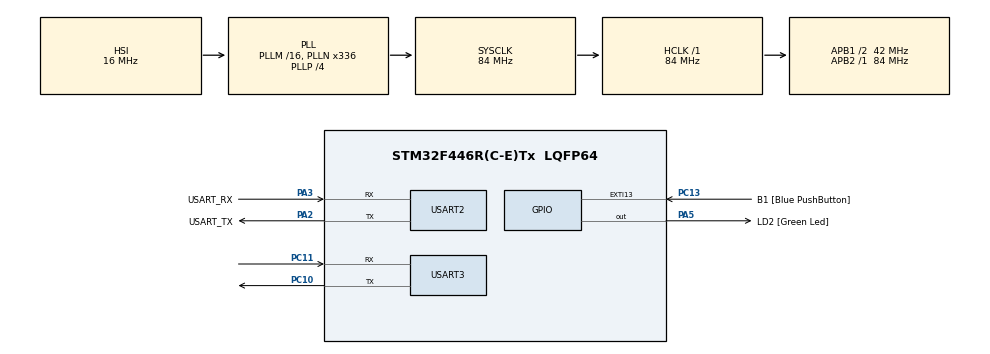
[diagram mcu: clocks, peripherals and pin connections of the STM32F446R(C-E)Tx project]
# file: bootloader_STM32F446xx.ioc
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Mcu.Family=STM32F4
Mcu.Name=STM32F446R(C-E)Tx
Mcu.Package=LQFP64
NVIC.PriorityGroup=NVIC_PRIORITYGROUP_0
PA13.GPIO_Label=TMS
PA13.Mode=Serial_Wire
PA13.Signal=SYS_JTMS-SWDIO
PA14.GPIO_Label=TCK
PA14.Mode=Serial_Wire
PA14.Signal=SYS_JTCK-SWCLK
PA2.GPIO_Label=USART_TX
PA2.Mode=Asynchronous
PA2.Signal=USART2_TX
PA3.GPIO_Label=USART_RX
PA3.Mode=Asynchronous
PA3.Signal=USART2_RX
PA5.GPIO_Label=LD2 [Green Led]
PA5.Signal=GPIO_Output
PB3.GPIO_Label=SWO
PB3.Signal=SYS_JTDO-SWO
PC10.Mode=Asynchronous
PC10.Signal=USART3_TX
PC11.Mode=Asynchronous
PC11.Signal=USART3_RX
PC13.GPIO_Label=B1 [Blue PushButton]
PC13.GPIO_ModeDefaultEXTI=GPIO_MODE_IT_FALLING
PC13.Signal=GPXTI13
PC14-OSC32_IN.Signal=RCC_OSC32_IN
PC15-OSC32_OUT.Signal=RCC_OSC32_OUT
PH0-OSC_IN.Signal=RCC_OSC_IN
PH1-OSC_OUT.Signal=RCC_OSC_OUT
ProjectManager.HeapSize=0x200
ProjectManager.StackSize=0x400
ProjectManager.TargetToolchain=STM32CubeIDE
RCC.48MHZClocksFreq_Value=84000000
RCC.AHBFreq_Value=84000000
RCC.APB1CLKDivider=RCC_HCLK_DIV2
RCC.APB1Freq_Value=42000000
RCC.APB1TimFreq_Value=84000000
RCC.APB2Freq_Value=84000000
RCC.APB2TimFreq_Value=84000000
RCC.CortexFreq_Value=84000000
RCC.FLatency-AdvancedSettings=FLASH_LATENCY_2
RCC.HCLKFreq_Value=84000000
RCC.HSE_VALUE=8000000
RCC.HSI_VALUE=16000000
RCC.PLLN=336
RCC.PLLP=RCC_PLLP_DIV4
RCC.SYSCLKFreq_VALUE=84000000
RCC.SYSCLKSource=RCC_SYSCLKSOURCE_PLLCLK
RCC.USBFreq_Value=168000000
RCC.VCOOutputFreq_Value=336000000
USART2.VirtualMode=VM_ASYNC
USART3.VirtualMode=VM_ASYNC
VP_CRC_VS_CRC.Mode=CRC_Activate
board=NUCLEO-F446RE

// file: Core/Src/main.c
/* USER CODE BEGIN Header */
/**
  ******************************************************************************
  * @file           : main.c
  * @brief          : Main program body
  ******************************************************************************
  * @attention
  *
  * Copyright (c) 2026 STMicroelectronics.
  * All rights reserved.
  *
  * This software is licensed under terms that can be found in the LICENSE file
  * in the root directory of this software component.
  * If no LICENSE file comes with this software, it is provided AS-IS.
  *
  ******************************************************************************
  */
/* USER CODE END Header */
#include "main.h"

/* USER CODE BEGIN Includes */
#include <string.h>
#include <stdarg.h>
#include <stdio.h>
/* USER CODE END Includes */

/* USER CODE BEGIN PD */
#define BL_DEBUG_MSG_EN
#define FLASH_SECTOR2_BASE_ADDRESS            0x08008000UL

/* USER CODE END PD */

/* USER CODE BEGIN PM */
#define D_UART		&huart2
#define C_UART      &huart3

#define BL_RX_LEN	200
/* USER CODE END PM */

CRC_HandleTypeDef hcrc;

UART_HandleTypeDef huart2;
UART_HandleTypeDef huart3;

/* USER CODE BEGIN PV */
uint8_t bl_rx_buffer[BL_RX_LEN];

uint8_t supported_commands[] = {
							   BL_GET_VER,
							   BL_GET_HELP,
							   BL_GET_CID,
							   BL_GET_RDP_STATUS,
							   BL_GO_TO_ADDR,
							   BL_FLASH_ERASE,
							   BL_MEM_WRITE,
							   BL_READ_SECTOR_STATUS};
/* USER CODE END PV */

void SystemClock_Config(void);
static void MX_GPIO_Init(void);
static void MX_USART2_UART_Init(void);
static void MX_USART3_UART_Init(void);
static void MX_CRC_Init(void);
/* USER CODE BEGIN PFP */
void printmsg(char *format,...);

/* USER CODE END PFP */

int main(void)
{

  /* MCU Configuration--------------------------------------------------------*/

  /* Reset of all peripherals, Initializes the Flash interface and the Systick. */
  HAL_Init();

  /* Configure the system clock */
  SystemClock_Config();

  /* Initialize all configured peripherals */
  MX_GPIO_Init();
  MX_USART2_UART_Init();
  MX_USART3_UART_Init();
  MX_CRC_Init();
  /* USER CODE BEGIN 2 */
  if(HAL_GPIO_ReadPin(GPIOC, GPIO_PIN_13)==GPIO_PIN_RESET)
  {
	  printmsg("BL_DEBUG_MSG:Button is pressed .. going to BL mode\n\r");

	  bootloader_uart_read_data();
  }
  else
  {
	  printmsg("BL_DEBUG_MSG:Button is not pressed .. executing user app \n");
	  bootloader_jump_to_user_app();
  }
  /* USER CODE END 2 */

}

void SystemClock_Config(void)
{
  RCC_OscInitTypeDef RCC_OscInitStruct = {0};
  RCC_ClkInitTypeDef RCC_ClkInitStruct = {0};

  /** Configure the main internal regulator output voltage
  */
  __HAL_RCC_PWR_CLK_ENABLE();
  __HAL_PWR_VOLTAGESCALING_CONFIG(PWR_REGULATOR_VOLTAGE_SCALE3);

  /** Initializes the RCC Oscillators according to the specified parameters
  * in the RCC_OscInitTypeDef structure.
  */
  RCC_OscInitStruct.OscillatorType = RCC_OSCILLATORTYPE_HSI;
  RCC_OscInitStruct.HSIState = RCC_HSI_ON;
  RCC_OscInitStruct.HSICalibrationValue = RCC_HSICALIBRATION_DEFAULT;
  RCC_OscInitStruct.PLL.PLLState = RCC_PLL_ON;
  RCC_OscInitStruct.PLL.PLLSource = RCC_PLLSOURCE_HSI;
  RCC_OscInitStruct.PLL.PLLM = 16;
  RCC_OscInitStruct.PLL.PLLN = 336;
  RCC_OscInitStruct.PLL.PLLP = RCC_PLLP_DIV4;
  RCC_OscInitStruct.PLL.PLLQ = 2;
  RCC_OscInitStruct.PLL.PLLR = 2;
  if (HAL_RCC_OscConfig(&RCC_OscInitStruct) != HAL_OK)
  {
    Error_Handler();
  }

  /** Initializes the CPU, AHB and APB buses clocks
  */
  RCC_ClkInitStruct.ClockType = RCC_CLOCKTYPE_HCLK|RCC_CLOCKTYPE_SYSCLK
                              |RCC_CLOCKTYPE_PCLK1|RCC_CLOCKTYPE_PCLK2;
  RCC_ClkInitStruct.SYSCLKSource = RCC_SYSCLKSOURCE_PLLCLK;
  RCC_ClkInitStruct.AHBCLKDivider = RCC_SYSCLK_DIV1;
  RCC_ClkInitStruct.APB1CLKDivider = RCC_HCLK_DIV2;
  RCC_ClkInitStruct.APB2CLKDivider = RCC_HCLK_DIV1;

  if (HAL_RCC_ClockConfig(&RCC_ClkInitStruct, FLASH_LATENCY_2) != HAL_OK)
  {
    Error_Handler();
  }
}

static void MX_CRC_Init(void)
{

  hcrc.Instance = CRC;
  if (HAL_CRC_Init(&hcrc) != HAL_OK)
  {
    Error_Handler();
  }

}

static void MX_USART2_UART_Init(void)
{

  huart2.Instance = USART2;
  huart2.Init.BaudRate = 115200;
  huart2.Init.WordLength = UART_WORDLENGTH_8B;
  huart2.Init.StopBits = UART_STOPBITS_1;
  huart2.Init.Parity = UART_PARITY_NONE;
  huart2.Init.Mode = UART_MODE_TX_RX;
  huart2.Init.HwFlowCtl = UART_HWCONTROL_NONE;
  huart2.Init.OverSampling = UART_OVERSAMPLING_16;
  if (HAL_UART_Init(&huart2) != HAL_OK)
  {
    Error_Handler();
  }

}

static void MX_USART3_UART_Init(void)
{

  huart3.Instance = USART3;
  huart3.Init.BaudRate = 115200;
  huart3.Init.WordLength = UART_WORDLENGTH_8B;
  huart3.Init.StopBits = UART_STOPBITS_1;
  huart3.Init.Parity = UART_PARITY_NONE;
  huart3.Init.Mode = UART_MODE_TX_RX;
  huart3.Init.HwFlowCtl = UART_HWCONTROL_NONE;
  huart3.Init.OverSampling = UART_OVERSAMPLING_16;
  if (HAL_UART_Init(&huart3) != HAL_OK)
  {
    Error_Handler();
  }

}

static void MX_GPIO_Init(void)
{
  GPIO_InitTypeDef GPIO_InitStruct = {0};

  /* GPIO Ports Clock Enable */
  __HAL_RCC_GPIOC_CLK_ENABLE();
  __HAL_RCC_GPIOH_CLK_ENABLE();
  __HAL_RCC_GPIOA_CLK_ENABLE();
  __HAL_RCC_GPIOB_CLK_ENABLE();

  /*Configure GPIO pin Output Level */
  HAL_GPIO_WritePin(LD2_GPIO_Port, LD2_Pin, GPIO_PIN_RESET);

  /*Configure GPIO pin : B1_Pin */
  GPIO_InitStruct.Pin = B1_Pin;
  GPIO_InitStruct.Mode = GPIO_MODE_IT_FALLING;
  GPIO_InitStruct.Pull = GPIO_NOPULL;
  HAL_GPIO_Init(B1_GPIO_Port, &GPIO_InitStruct);

  /*Configure GPIO pin : LD2_Pin */
  GPIO_InitStruct.Pin = LD2_Pin;
  GPIO_InitStruct.Mode = GPIO_MODE_OUTPUT_PP;
  GPIO_InitStruct.Pull = GPIO_NOPULL;
  GPIO_InitStruct.Speed = GPIO_SPEED_FREQ_LOW;
  HAL_GPIO_Init(LD2_GPIO_Port, &GPIO_InitStruct);

}

/* USER CODE BEGIN 4 */
void printmsg(char *format,...)
{
#ifdef BL_DEBUG_MSG_EN
	char str[80];

	va_list args;
	va_start(args,format);
	vsprintf(str,format,args);
	HAL_UART_Transmit(D_UART, (uint8_t *)str, strlen(str), HAL_MAX_DELAY);
	va_end(args);
#endif
}
void bootloader_uart_read_data(void)
{
	uint8_t rcv_len=0;

	while(1)
	{
		printmsg("I'm ready\n\r");
		memset(bl_rx_buffer,0,200);
		//here we will read and decode the commands coming from host
		//first read only one byte from the host , which is the "length" field of the command
		HAL_UART_Receive(C_UART, bl_rx_buffer, 1, HAL_MAX_DELAY);
		rcv_len=bl_rx_buffer[0];

		HAL_UART_Receive(C_UART, &bl_rx_buffer[1], rcv_len, HAL_MAX_DELAY);
		printmsg("bl_rx_buffer[0]:%#x\n\r",bl_rx_buffer[0]);
		printmsg("bl_rx_buffer[1]:%#x\n\r",bl_rx_buffer[1]);
		switch(bl_rx_buffer[1])
		{
			case BL_GET_VER:
				bootloader_handle_getver_cmd(bl_rx_buffer);
				break;
			case BL_GET_HELP:
				bootloader_handle_gethelp_cmd(bl_rx_buffer);
				break;
			case BL_GET_CID:
				bootloader_handle_getcid_cmd(bl_rx_buffer);
				break;
			case BL_GET_RDP_STATUS:
				bootloader_handle_getrdp_cmd(bl_rx_buffer);
				break;
			case BL_GO_TO_ADDR:
				bootloader_handle_go_cmd(bl_rx_buffer);
				break;
			case BL_FLASH_ERASE:
				bootloader_handle_flash_erase_cmd(bl_rx_buffer);
				break;
			case BL_MEM_WRITE:
				bootloader_handle_mem_write_cmd(bl_rx_buffer);
				break;
			case BL_ENDIS_RW_PROTECT:
				bootloader_handle_endis_rw_protect(bl_rx_buffer);
				break;
			case BL_MEM_READ:
				bootloader_handle_mem_read(bl_rx_buffer);
				break;
			case BL_READ_SECTOR_STATUS:
				bootloader_handle_read_sector_status(bl_rx_buffer);
				break;
			case BL_OTP_READ:
				bootloader_handle_read_otp(bl_rx_buffer);
				break;
			default:
				printmsg("BL_DEBUG_MSG:Invalid command code received from host \n");
				break;

		}
	}
}
void bootloader_send_ack(uint8_t command_code,uint8_t follow_len)
{
	//here we send 2 bytes.. first byte is ack and the second byte is len value
	uint8_t ack_buf[2];
	ack_buf[0] = BL_ACK;
	ack_buf[1] = follow_len;
	HAL_UART_Transmit(C_UART, ack_buf, 2, HAL_MAX_DELAY);
}
void bootloader_send_nack(void)
{
	uint8_t nack = BL_NACK;
	HAL_UART_Transmit(C_UART, &nack, 1, HAL_MAX_DELAY);
}

//This verifies the CRC of the given buffer in pData .
uint8_t bootloader_verify_crc(uint8_t *pData,uint32_t len,uint32_t crc_host)
{
	uint32_t uwCRCValue=0xff;

	for (uint32_t i=0 ; i < len ; i++)
	{
		uint32_t i_data = pData[i];
		uwCRCValue = HAL_CRC_Accumulate(&hcrc, &i_data, 1);
	}
	  /* Reset CRC calculation unit */
	__HAL_CRC_DR_RESET(&hcrc);
	printmsg("%#x\n\r",uwCRCValue);

	if( uwCRCValue == crc_host)
	{
		return VERIFY_CRC_SUCCESS;
	}
	return VERIFY_CRC_FAIL;
}
void bootloader_handle_getver_cmd(uint8_t *bl_rx_buffer)
{
	uint8_t bl_version;

	// 1) verify the checksum
	printmsg("BL_DEBUG_MSG:bootloader_handle_getver_cmd\n");

	//Total length of the command packet
	uint32_t command_packet_len = bl_rx_buffer[0]+1;

	//extract the CRC32 sent by the Host
	uint32_t host_crc = *((uint32_t *) (bl_rx_buffer+command_packet_len - 4));
	if(! bootloader_verify_crc(&bl_rx_buffer[0],command_packet_len-4,host_crc))
	{
		printmsg("BL_DEBUG_MSG:checksum success !!\n");
		// checksum is correct..
		bootloader_send_ack(bl_rx_buffer[0],1);
		bl_version=get_bootloader_version();
		printmsg("BL_DEBUG_MSG:BL_VER :  %#x\n",bl_version);
		bootloader_uart_write_data(&bl_version,1);

	}else
	{
		printmsg("BL_DEBUG_MSG:checksum fail !!\n");
		//checksum is wrong send nack
		bootloader_send_nack();
	}
}

void bootloader_handle_gethelp_cmd(uint8_t *bl_rx_buffer)
{
	printmsg("BL_DEBUG_MSG:bootloader_handle_gethelp_cmd\n");

	//Total length of the command packet
	uint32_t command_packet_len = bl_rx_buffer[0]+1;

	//extract the CRC32 send by the Host
	uint32_t host_crc = *((uint32_t * ) (bl_rx_buffer+command_packet_len - 4) );
	if(! bootloader_verify_crc(&bl_rx_buffer[0], command_packet_len-4, host_crc))
	{
		printmsg("BL_DEBUG_MSG:checksum success !!\n");
		bootloader_send_ack(bl_rx_buffer[0],sizeof(supported_commands));
		bootloader_uart_write_data(supported_commands,sizeof(supported_commands));
	}else
	{
		printmsg("BL_DEBUG_MSG:checksum fail !!\n");
		//checksum is wrong send nack
		bootloader_send_nack();
	}
}

void bootloader_handle_getcid_cmd(uint8_t *bl_rx_buffer)
{
	uint16_t bl_cid_num;
	printmsg("BL_DEBUG_MSG:bootloader_handle_getcid_cmd\n");

	//Total length of the command packet
	uint32_t command_packet_len = bl_rx_buffer[0]+1;

	//extract the CRC32 send by the Host
	uint32_t host_crc = *((uint32_t * ) (bl_rx_buffer+command_packet_len - 4) );
	if(! bootloader_verify_crc(&bl_rx_buffer[0], command_packet_len-4, host_crc))
	{
		printmsg("BL_DEBUG_MSG:checksum success !!\n");
		bootloader_send_ack(bl_rx_buffer[0],2);
		bl_cid_num=get_mcu_chip_id();
		printmsg("BL_DEBUG_MSG:MCU_id :  %#x\n",bl_cid_num);
		bootloader_uart_write_data((uint8_t*)&bl_cid_num,2);
	}else
	{
		printmsg("BL_DEBUG_MSG:checksum fail !!\n");
		//checksum is wrong send nack
		bootloader_send_nack();
	}
}

void bootloader_handle_getrdp_cmd(uint8_t *bl_rx_buffer)
{
	uint8_t rdp_level;
	printmsg("BL_DEBUG_MSG:bootloader_handle_getrdp_cmd\n");

	//Total length of the command packet
	uint32_t command_packet_len = bl_rx_buffer[0]+1;

	//extract the CRC32 send by the Host
	uint32_t host_crc = *((uint32_t * ) (bl_rx_buffer+command_packet_len - 4) );
	if(! bootloader_verify_crc(&bl_rx_buffer[0], command_packet_len-4, host_crc))
	{
		printmsg("BL_DEBUG_MSG:checksum success !!\n");
		bootloader_send_ack(bl_rx_buffer[0],1);
		rdp_level=get_flash_rdp_level();
		printmsg("BL_DEBUG_MSG:MCU_rdp :  %#x\n",rdp_level);
		bootloader_uart_write_data(&rdp_level,1);
	}else
	{
		printmsg("BL_DEBUG_MSG:checksum fail !!\n");
		//checksum is wrong send nack
		bootloader_send_nack();
	}
}

void bootloader_handle_go_cmd(uint8_t *bl_rx_buffer)
{
	uint32_t go_address=0;
	uint8_t addr_valid = ADDR_VALID;
	uint8_t addr_invalid = ADDR_INVALID;

	printmsg("BL_DEBUG_MSG:bootloader_handle_getrdp_cmd\n");

	//Total length of the command packet
	uint32_t command_packet_len = bl_rx_buffer[0]+1;

	//extract the CRC32 send by the Host
	uint32_t host_crc = *((uint32_t * ) (bl_rx_buffer+command_packet_len - 4) );
	if(! bootloader_verify_crc(&bl_rx_buffer[0], command_packet_len-4, host_crc))
	{
		printmsg("BL_DEBUG_MSG:checksum success !!\n");
		bootloader_send_ack(bl_rx_buffer[0],1);

		//extract the go address
		go_address = *((uint32_t *)&bl_rx_buffer[2]);
		printmsg("BL_DEBUG_MSG:GO addr: %#x\n",go_address);

		if(verify_address(go_address)==ADDR_VALID )
		{
			//tell host that address is fine
			bootloader_uart_write_data(&addr_valid,1);

			go_address +=1;
			void (*lets_jump)(void)=(void *)go_address;

			printmsg("BL_DEBUG_MSG: jumping to go address! \n");

			lets_jump();

		}else
		{
			printmsg("BL_DEBUG_MSG:GO addr invalid! \n");
			//tell host that address is invalid
			bootloader_uart_write_data(&addr_invalid,1);
		}

	}else
	{
		printmsg("BL_DEBUG_MSG:checksum fail !!\n");
		//checksum is wrong send nack
		bootloader_send_nack();
	}
}

void bootloader_handle_flash_erase_cmd(uint8_t *bl_rx_buffer)
{
	uint8_t erase_status=0x00;
	printmsg("BL_DEBUG_MSG:bootloader_handle_flash_erase_cmd\n");

	//Total length of the command packet
	uint32_t command_packet_len = bl_rx_buffer[0]+1;

	//extract the CRC32 send by the Host
	uint32_t host_crc = *((uint32_t * ) (bl_rx_buffer+command_packet_len - 4) );
	if(! bootloader_verify_crc(&bl_rx_buffer[0], command_packet_len-4, host_crc))
	{
		printmsg("BL_DEBUG_MSG:checksum success !!\n");
		bootloader_send_ack(bl_rx_buffer[0],1);
		printmsg("BL_DEBUG_MSG:Initial_sector:%d no_ofsectors: %d\n",bl_rx_buffer[2],bl_rx_buffer[3]);
		HAL_GPIO_WritePin(LD2_GPIO_Port, LD2_Pin, 1);
		erase_status = execute_flash_erase(bl_rx_buffer[2],bl_rx_buffer[3]);
		HAL_GPIO_WritePin(LD2_GPIO_Port, LD2_Pin, 0);

		printmsg("BL_DEBUG_MSG: flash erase status: %#x\n",erase_status);

		bootloader_uart_write_data(&erase_status,1);
	}else
	{
		printmsg("BL_DEBUG_MSG:checksum fail !!\n");
		//checksum is wrong send nack
		bootloader_send_nack();
	}
}

void bootloader_handle_mem_write_cmd(uint8_t *bl_rx_buffer)
{
	uint8_t addr_valid =ADDR_VALID;
	uint8_t write_status = 0x00;
	uint8_t checksum=0,len=0;
	len=bl_rx_buffer[0];
	uint8_t payload_len = bl_rx_buffer[6];

	uint32_t mem_address = *((uint32_t *) (&bl_rx_buffer[2]));

	checksum = bl_rx_buffer[len];

	printmsg("BL_DEBUG_MSG:bootloader_handle_mem_write_cmd\n");

	//Total length of the command packet
	uint32_t command_packet_len = bl_rx_buffer[0]+1;

	//extract the CRC32 send by the Host
	uint32_t host_crc = *((uint32_t * ) (bl_rx_buffer+command_packet_len - 4) );
	if(! bootloader_verify_crc(&bl_rx_buffer[0], command_packet_len-4, host_crc))
	{
		printmsg("BL_DEBUG_MSG:checksum success !!\n");

		bootloader_send_ack(bl_rx_buffer[0],1);

		printmsg("BL_DEBUG_MSG:mem write address: %#x\n",mem_address);

		if(verify_address(mem_address)==ADDR_VALID )
		{
			printmsg("BL_DEBUG_MSG: valid mem write address\n");
			//glow the led to indicate bootloader is currently  writing to memory
			HAL_GPIO_WritePin(LD2_GPIO_Port, LD2_Pin, 1);
			//execute mem write
			write_status= execute_mem_write(&bl_rx_buffer[7],mem_address,payload_len);
			//turn off the led to indicate memory write is over
			HAL_GPIO_WritePin(LD2_GPIO_Port, LD2_Pin, 0);
			bootloader_uart_write_data(&write_status,1);
		}else
		{
			printmsg("BL_DEBUG_MSG: invalid mem write address\n");
			write_status = ADDR_INVALID;
			//inform host that address is invalid
			bootloader_uart_write_data(&write_status,1);
		}
	}else
	{
		printmsg("BL_DEBUG_MSG:checksum fail !!\n");
		//checksum is wrong send nack
		bootloader_send_nack();
	}
}

void bootloader_handle_endis_rw_protect(uint8_t *bl_rx_buffer)
{
}

void bootloader_handle_mem_read(uint8_t *bl_rx_buffer)
{
}

void bootloader_handle_read_sector_status(uint8_t *bl_rx_buffer)
{
}

void bootloader_handle_read_otp(uint8_t *bl_rx_buffer)
{
}

void bootloader_jump_to_user_app(void)
{
	//just a function pointer to hold the address of the reset handler of the user app.
	void (*app_reset_handler)(void);

	printmsg("BL_DEBUG_MSG:bootloader_jump_to_user_app\n");

	// 1. configure the MSP by reading the value from the base address of the sector2
	uint32_t msp_value = *(volatile uint32_t *)FLASH_SECTOR2_BASE_ADDRESS;
	printmsg("BL_DEBUG_MSG:MSP value: %#x\n",msp_value);

	//This function comes from CMSIS.
	__set_MSP(msp_value);

	SCB->VTOR = FLASH_SECTOR2_BASE_ADDRESS;

	/* 2. Now fetch the reset handler address of the user application
	 * from the location FLASH_SECTOR2_BASE_ADDRESS+4
	 */
	uint32_t resethandler_address = *(volatile uint32_t * )(FLASH_SECTOR2_BASE_ADDRESS + 4);
	app_reset_handler = (void*) resethandler_address;

	printmsg("BL_DEBUG_MSG: app reset handler addr : %#x\n",app_reset_handler);

	//3. jump to reset handler of the application
	app_reset_handler();
}

/* This function writes data in to C_UART */
void bootloader_uart_write_data(uint8_t *pBuffer,uint32_t len)
{
	HAL_UART_Transmit(C_UART, pBuffer, len, HAL_MAX_DELAY);
}

uint8_t get_bootloader_version(void)
{
	return (uint8_t) BL_VERSION;
}

//Read the chip identifier or device Identifier
uint16_t get_mcu_chip_id(void)
{
	uint16_t cid;
	cid = (uint16_t)(DBGMCU->IDCODE)& 0x0FFF;
	return cid;
}
//Read the flash read protection(rdp) level
uint8_t get_flash_rdp_level(void)
{
	uint8_t rdp_status=0;
	volatile uint32_t *pOB_addr = (uint32_t*) 0x1FFFC000;
	rdp_status = (uint8_t)(*pOB_addr >> 8 );
	return rdp_status;
}
//verify the address sent by the host.
uint8_t verify_address(uint32_t go_address)
{
	//so, what are the valid addresses to which we can jump ?
	//can we jump to system memory ? yes
	//can we jump to sram1 memory ? yes
	//can we jump to sram2 memory ? yes
	//can we jump to backup sram memory ? yes
	//can we jump to peripheral memory ? its possible , but dont allow. so no.
	//can we jump to external memory? yes.

	if(go_address >= SRAM1_BASE && go_address <= SRAM1_END)
	{
		return ADDR_VALID;
	}
	else if(go_address >= SRAM2_BASE && go_address <= SRAM2_END)
	{
		return ADDR_VALID;
	}
	else if(go_address >= FLASH_BASE && go_address <= FLASH_END)
	{
		return ADDR_VALID;
	}
	else if(go_address >= BKPSRAM_BASE && go_address <= BKPSRAM_END)
	{
		return ADDR_VALID;
	}
	else
		return ADDR_INVALID;
}

uint8_t execute_flash_erase(uint8_t sector_number,uint8_t number_of_sector)
{
	FLASH_EraseInitTypeDef flashErase_handle;
	uint32_t sectorError;
	HAL_StatusTypeDef status;
	if(number_of_sector > 8 )
		return INVALID_SECTOR;
	if((sector_number ==0xff) || (sector_number <= 7))
	{
		if(sector_number == (uint8_t) 0xff)
		{
			flashErase_handle.TypeErase=FLASH_TYPEERASE_MASSERASE;
		}else
		{
			uint8_t remaining_sector = 8 - sector_number;
			if(number_of_sector > remaining_sector)
			{
				number_of_sector = remaining_sector;
			}
			flashErase_handle.TypeErase=FLASH_TYPEERASE_SECTORS;
			flashErase_handle.Sector=sector_number;
			flashErase_handle.NbSectors=number_of_sector;
		}
		flashErase_handle.Banks= FLASH_BANK_1;

		/* Get access to touch the flash registers */
		HAL_FLASH_Unlock();
		flashErase_handle.VoltageRange = FLASH_VOLTAGE_RANGE_3;
		status =(uint8_t) HAL_FLASHEx_Erase(&flashErase_handle, &sectorError);
		HAL_FLASH_Lock();
		return status;
	}
	return INVALID_SECTOR;
}
/*This function writes the contents of pBuffer to "mem address" byte by byte*/
uint8_t execute_mem_write(uint8_t * pBuffer,uint32_t mem_address,uint32_t len)
{
	uint8_t status=HAL_OK;

	//We have to unlock flash module to get control of registers
	HAL_FLASH_Unlock();

	for(uint32_t i=0; i<len ; i++)
	{
		//here we program the flash byte by byte
		status = HAL_FLASH_Program(FLASH_TYPEPROGRAM_BYTE,mem_address+i, pBuffer[i] );
	}
	HAL_FLASH_Lock();

	return status;
}

/* USER CODE END 4 */

void Error_Handler(void)
{
  __disable_irq();
  while (1)
  {
  }
}
